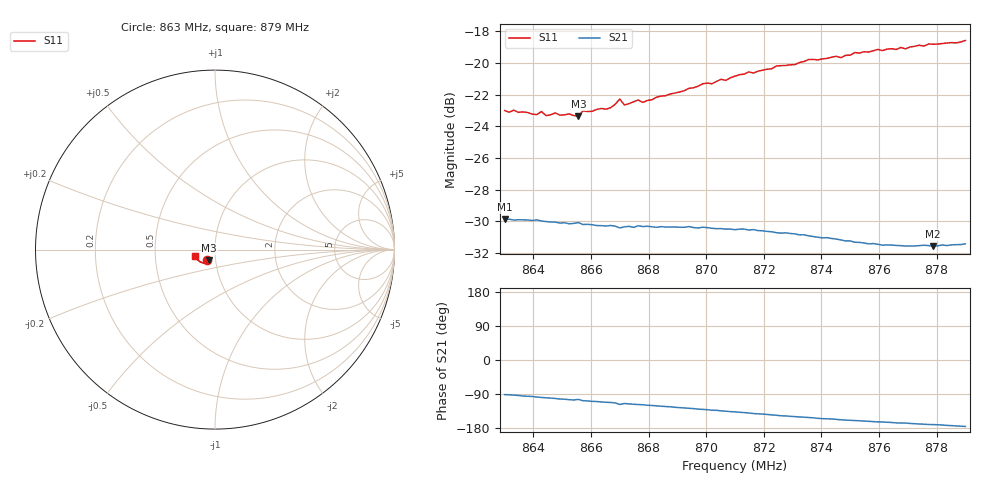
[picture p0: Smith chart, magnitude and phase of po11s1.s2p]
# HZ S RI R 50
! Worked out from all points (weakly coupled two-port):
!   101 points, 863 MHz to 879 MHz, reference 50 ohm
!   highest |S21| = -29.86 dB at 863 MHz (marker M1); lowest = -31.6 dB at 877.88 MHz (marker M2)
!   lowest |S11| = -23.4 dB at 865.56 MHz (marker M3), VSWR 1.15, Z = 46.6 - j5.62 ohm
!   |S11| at or under -10 dB: start of sweep to end of sweep
!   S12 and S22 are empty: the file has one direction only
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8.63e8  -0.042 -0.0569  -0.000756 -0.0321  0 0  0 0
8.6412e8  -0.0375 -0.0576  -0.00429 -0.0317  0 0  0 0
8.6428e8  -0.0384 -0.0588  -0.00488 -0.0314  0 0  0 0
8.6444e8  -0.0377 -0.0568  -0.00534 -0.0311  0 0  0 0
8.6476e8  -0.038 -0.0583  -0.0063 -0.0308  0 0  0 0
8.6556e8  -0.0318 -0.0601  -0.00761 -0.0304  0 0  0 0
8.6572e8  -0.0349 -0.0614  -0.00927 -0.0295  0 0  0 0
8.6668e8  -0.0359 -0.0627  -0.0115 -0.0285  0 0  0 0
8.67e8  -0.0417 -0.0647  -0.0138 -0.0268  0 0  0 0
8.6716e8  -0.0354 -0.0647  -0.0127 -0.0276  0 0  0 0
8.6764e8  -0.0375 -0.0666  -0.0142 -0.0272  0 0  0 0
8.678e8  -0.0376 -0.065  -0.0144 -0.0269  0 0  0 0
8.6844e8  -0.0383 -0.0686  -0.0162 -0.0258  0 0  0 0
8.6988e8  -0.0445 -0.0736  -0.0196 -0.0231  0 0  0 0
8.7068e8  -0.0475 -0.0742  -0.0212 -0.0211  0 0  0 0
8.71e8  -0.0508 -0.0754  -0.0217 -0.0204  0 0  0 0
8.7372e8  -0.0713 -0.0738  -0.0252 -0.013  0 0  0 0
8.7468e8  -0.079 -0.0675  -0.0256 -0.0104  0 0  0 0
8.7516e8  -0.0839 -0.0679  -0.0255 -0.00942  0 0  0 0
8.7644e8  -0.0937 -0.0594  -0.0257 -0.00691  0 0  0 0
8.7788e8  -0.1043 -0.0475  -0.0261 -0.00437  0 0  0 0
8.79e8  -0.1115 -0.0379  -0.0268 -0.00215  0 0  0 0
